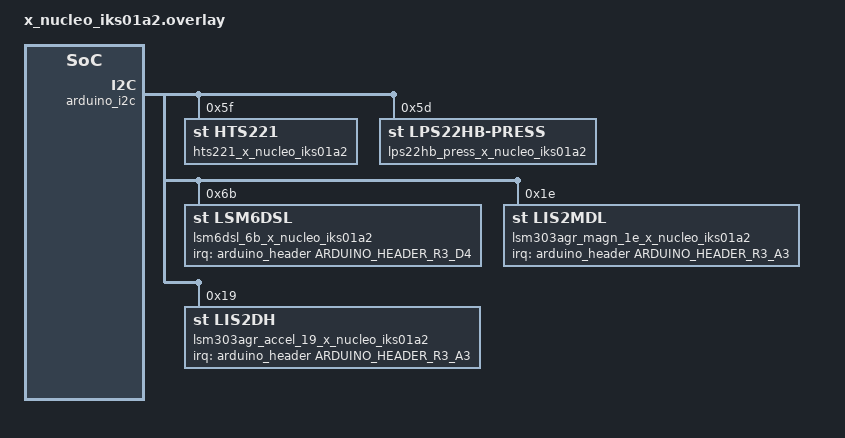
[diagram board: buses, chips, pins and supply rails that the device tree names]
/*
 *
 * Copyright (c) 2018 Linaro Limited
 *
 * SPDX-License-Identifier: Apache-2.0
 */

#include <zephyr/dt-bindings/gpio/arduino-header-r3.h>

/ {
	aliases {
		magn0 = &lsm303agr_magn_1e_x_nucleo_iks01a2;
		accel0 = &lsm303agr_accel_19_x_nucleo_iks01a2;
		accel1 = &lsm6dsl_6b_x_nucleo_iks01a2;
	};
};

&arduino_i2c {
	hts221_x_nucleo_iks01a2: hts221@5f {
		compatible = "st,hts221";
		reg = <0x5f>;
	};

	lps22hb_press_x_nucleo_iks01a2: lps22hb-press@5d {
		compatible = "st,lps22hb-press";
		reg = <0x5d>;
	};

	lsm6dsl_6b_x_nucleo_iks01a2: lsm6dsl@6b {
		compatible = "st,lsm6dsl";
		reg = <0x6b>;
		irq-gpios = <&arduino_header ARDUINO_HEADER_R3_D4 GPIO_ACTIVE_HIGH>;
	};

	lsm303agr_magn_1e_x_nucleo_iks01a2: lsm303agr-magn@1e {
		compatible = "st,lis2mdl", "st,lsm303agr-magn";
		reg = <0x1e>;
		irq-gpios = <&arduino_header ARDUINO_HEADER_R3_A3 GPIO_ACTIVE_HIGH>;
	};

	lsm303agr_accel_19_x_nucleo_iks01a2: lsm303agr-accel@19 {
		compatible = "st,lis2dh", "st,lsm303agr-accel";
		reg = <0x19>;
		irq-gpios = <&arduino_header ARDUINO_HEADER_R3_A3 GPIO_ACTIVE_HIGH>;
	};
};
